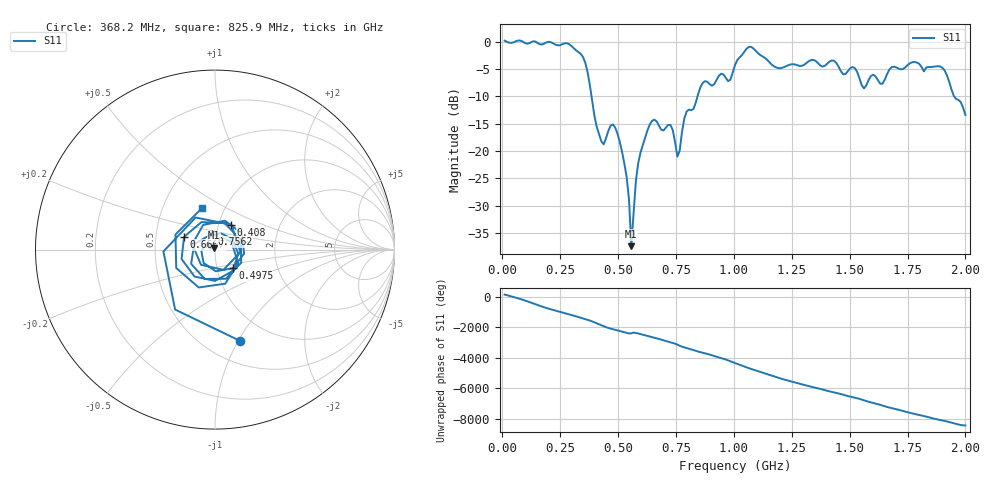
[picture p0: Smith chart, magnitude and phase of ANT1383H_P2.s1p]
!Created with skrf (http://scikit-rf.org).
# Hz S RI R 50.0
!freq ReS11 ImS11
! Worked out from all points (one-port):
!   201 points, 10 MHz to 2 GHz, reference 50 ohm
!   lowest |S11| = -37.4 dB at 557.2 MHz (marker M1), VSWR 1.03, Z = 49.3 + j1.11 ohm
!   |S11| at or under -10 dB: 385.3 MHz to 843.1 MHz (457.9 MHz wide, 74.5 % of centre); 1.951 GHz to end of sweep
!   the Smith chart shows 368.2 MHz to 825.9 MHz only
!   S11 on the Smith chart (normalised r, x): 368.2 MHz: 0.72, -1.02; 408 MHz: 1.15, +0.33; 497.6 MHz: 1.19, -0.25; 666.7 MHz: 0.70, +0.10; 756.2 MHz: 0.95, +0.17; 825.9 MHz: 0.78, +0.39
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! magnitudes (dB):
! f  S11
! 10 MHz  0.2
! 258.8 MHz  -0.5
! 368.2 MHz  -5.5
! 408 MHz  -15.6
! 437.9 MHz  -18.8
! 467.7 MHz  -15.4
! 497.6 MHz  -16.8
! 507.5 MHz  -18.4
! 537.4 MHz  -24.9
! 547.3 MHz  -28.9
! 557.2 MHz  -37.4
! 587.1 MHz  -22.2
! 636.9 MHz  -15.2
! 666.7 MHz  -14.6
! 726.4 MHz  -15.2
! 756.2 MHz  -21.0
! 796 MHz  -12.8
! 825.9 MHz  -12.3
! 865.7 MHz  -7.5
! 975.1 MHz  -7.2
! 1.005 GHz  -4.3
! 1.075 GHz  -0.9
! 1.254 GHz  -4.1
! 1.502 GHz  -4.9
! 1.562 GHz  -8.6
! 1.751 GHz  -4.2
! 1.901 GHz  -4.8
! 2 GHz  -13.4
